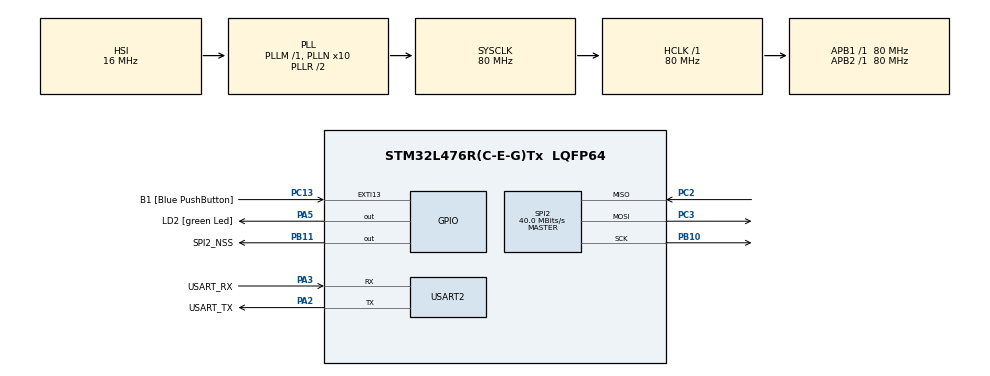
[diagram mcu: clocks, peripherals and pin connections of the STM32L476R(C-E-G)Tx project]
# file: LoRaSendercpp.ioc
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Mcu.Family=STM32L4
Mcu.Name=STM32L476R(C-E-G)Tx
Mcu.Package=LQFP64
NVIC.EXTI15_10_IRQn=true\:0\:0\:false\:false\:true\:true\:true
NVIC.PriorityGroup=NVIC_PRIORITYGROUP_4
PA13\ (JTMS-SWDIO).GPIO_Label=TMS
PA13\ (JTMS-SWDIO).Mode=Serial_Wire
PA13\ (JTMS-SWDIO).Signal=SYS_JTMS-SWDIO
PA14\ (JTCK-SWCLK).GPIO_Label=TCK
PA14\ (JTCK-SWCLK).Mode=Serial_Wire
PA14\ (JTCK-SWCLK).Signal=SYS_JTCK-SWCLK
PA2.GPIO_Label=USART_TX
PA2.GPIO_Mode=GPIO_MODE_AF_PP
PA2.GPIO_PuPd=GPIO_NOPULL
PA2.GPIO_Speed=GPIO_SPEED_FREQ_VERY_HIGH
PA2.Mode=Asynchronous
PA2.Signal=USART2_TX
PA3.GPIO_Label=USART_RX
PA3.GPIO_Mode=GPIO_MODE_AF_PP
PA3.GPIO_PuPd=GPIO_NOPULL
PA3.GPIO_Speed=GPIO_SPEED_FREQ_VERY_HIGH
PA3.Mode=Asynchronous
PA3.Signal=USART2_RX
PA5.GPIO_Label=LD2 [green Led]
PA5.GPIO_ModeDefaultOutputPP=GPIO_MODE_OUTPUT_PP
PA5.GPIO_PuPd=GPIO_NOPULL
PA5.GPIO_Speed=GPIO_SPEED_FREQ_LOW
PA5.Signal=GPIO_Output
PB10.Mode=Full_Duplex_Master
PB10.Signal=SPI2_SCK
PB11.GPIO_Label=SPI2_NSS
PB11.PinState=GPIO_PIN_SET
PB11.Signal=GPIO_Output
PB3\ (JTDO-TRACESWO).GPIO_Label=SWO
PB3\ (JTDO-TRACESWO).Signal=SYS_JTDO-SWO
PC13.GPIO_Label=B1 [Blue PushButton]
PC13.GPIO_ModeDefaultEXTI=GPIO_MODE_IT_FALLING
PC13.GPIO_PuPd=GPIO_NOPULL
PC13.Signal=GPXTI13
PC14-OSC32_IN\ (PC14).Mode=LSE-External-Oscillator
PC14-OSC32_IN\ (PC14).Signal=RCC_OSC32_IN
PC15-OSC32_OUT\ (PC15).Mode=LSE-External-Oscillator
PC15-OSC32_OUT\ (PC15).Signal=RCC_OSC32_OUT
PC2.Mode=Full_Duplex_Master
PC2.Signal=SPI2_MISO
PC3.Mode=Full_Duplex_Master
PC3.Signal=SPI2_MOSI
PH0-OSC_IN\ (PH0).Signal=RCC_OSC_IN
PH1-OSC_OUT\ (PH1).Signal=RCC_OSC_OUT
ProjectManager.HeapSize=0x200
ProjectManager.StackSize=0x400
ProjectManager.TargetToolchain=STM32CubeIDE
RCC.ADCFreq_Value=64000000
RCC.AHBFreq_Value=80000000
RCC.APB1Freq_Value=80000000
RCC.APB1TimFreq_Value=80000000
RCC.APB2Freq_Value=80000000
RCC.APB2TimFreq_Value=80000000
RCC.CortexFreq_Value=80000000
RCC.HCLKFreq_Value=80000000
RCC.HSE_VALUE=8000000
RCC.HSI_VALUE=16000000
RCC.MSI_VALUE=4000000
RCC.PLLN=10
RCC.PLLSourceVirtual=RCC_PLLSOURCE_HSI
RCC.PREFETCH_ENABLE=1
RCC.SYSCLKFreq_VALUE=80000000
RCC.SYSCLKSource=RCC_SYSCLKSOURCE_PLLCLK
RCC.USBFreq_Value=64000000
RCC.VCOOutputFreq_Value=160000000
SPI2.CalculateBaudRate=40.0 MBits/s
SPI2.DataSize=SPI_DATASIZE_8BIT
SPI2.Direction=SPI_DIRECTION_2LINES
SPI2.Mode=SPI_MODE_MASTER
SPI2.VirtualType=VM_MASTER
TIM1.Period=0xffff
TIM1.Prescaler=79
USART2.VirtualMode-Asynchronous=VM_ASYNC
VP_TIM1_VS_ClockSourceINT.Mode=Internal
board=NUCLEO-L476RG

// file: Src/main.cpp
/* USER CODE BEGIN Header */
/**
  ******************************************************************************
  * @file           : main.c
  * @brief          : Main program body
  ******************************************************************************
  * @attention
  *
  * <h2><center>&copy; Copyright (c) 2019 STMicroelectronics.
  * All rights reserved.</center></h2>
  *
  * This software component is licensed by ST under BSD 3-Clause license,
  * the "License"; You may not use this file except in compliance with the
  * License. You may obtain a copy of the License at:
  *                        opensource.org/licenses/BSD-3-Clause
  *
  ******************************************************************************
  */
/* USER CODE END Header */

#include "main.h"

/* USER CODE BEGIN Includes */
#include "lora.h"
/* USER CODE END Includes */

SPI_HandleTypeDef hspi2;

TIM_HandleTypeDef htim1;

UART_HandleTypeDef huart2;

LoRaClass lora;

int counter;

void SystemClock_Config(void);
static void MX_GPIO_Init(void);
static void MX_USART2_UART_Init(void);
static void MX_SPI2_Init(void);
static void MX_TIM1_Init(void);

int main(void)
{

  /* MCU Configuration--------------------------------------------------------*/

  /* Reset of all peripherals, Initializes the Flash interface and the Systick. */
  HAL_Init();

  /* Configure the system clock */
  SystemClock_Config();

  /* Initialize all configured peripherals */
  MX_GPIO_Init();
  MX_USART2_UART_Init();
  MX_SPI2_Init();
  MX_TIM1_Init();

  /* USER CODE BEGIN 2 */
  	  //LoRa.setPins(LORA_CS_PIN, LORA_RST_PIN, LORA_DIO0_PIN);
  	  LoRa.setPins(SPI2_NSS_GPIO_Port, SPI2_NSS_Pin, NULL, -1, EXTI15_10_IRQn);
  	  LoRa.setSPI(&hspi2);
  	  LoRa.setTIM(&htim1);

      if (!LoRa.begin(433.123E6)) {
        printf("Starting LoRa failed!\n");
        while (1);
      }
      LoRa.setTxPower(20, 1);
      LoRa.setSignalBandwidth(125E3);
      LoRa.setSpreadingFactor(11);
      LoRa.enableCrc();
      printf("LoRa started\n");
  /* USER CODE END 2 */

  /* Infinite loop */
  while (1)
  {
	  	printf("Sending packet: %d\n", counter);

	    // send packet
	    LoRa.beginPacket();
	    LoRa.print("hello ");
	    LoRa.print(counter);
	    LoRa.print("\n");
	    LoRa.print("LF working");
	    LoRa.endPacket();

	    counter++;

	    HAL_Delay(1500);
  }
}

void SystemClock_Config(void)
{
  RCC_OscInitTypeDef RCC_OscInitStruct = {0};
  RCC_ClkInitTypeDef RCC_ClkInitStruct = {0};
  RCC_PeriphCLKInitTypeDef PeriphClkInit = {0};

  /** Initializes the CPU, AHB and APB busses clocks
  */
  RCC_OscInitStruct.OscillatorType = RCC_OSCILLATORTYPE_HSI;
  RCC_OscInitStruct.HSIState = RCC_HSI_ON;
  RCC_OscInitStruct.HSICalibrationValue = RCC_HSICALIBRATION_DEFAULT;
  RCC_OscInitStruct.PLL.PLLState = RCC_PLL_ON;
  RCC_OscInitStruct.PLL.PLLSource = RCC_PLLSOURCE_HSI;
  RCC_OscInitStruct.PLL.PLLM = 1;
  RCC_OscInitStruct.PLL.PLLN = 10;
  RCC_OscInitStruct.PLL.PLLP = RCC_PLLP_DIV7;
  RCC_OscInitStruct.PLL.PLLQ = RCC_PLLQ_DIV2;
  RCC_OscInitStruct.PLL.PLLR = RCC_PLLR_DIV2;
  if (HAL_RCC_OscConfig(&RCC_OscInitStruct) != HAL_OK)
  {
    Error_Handler();
  }
  /** Initializes the CPU, AHB and APB busses clocks
  */
  RCC_ClkInitStruct.ClockType = RCC_CLOCKTYPE_HCLK|RCC_CLOCKTYPE_SYSCLK
                              |RCC_CLOCKTYPE_PCLK1|RCC_CLOCKTYPE_PCLK2;
  RCC_ClkInitStruct.SYSCLKSource = RCC_SYSCLKSOURCE_PLLCLK;
  RCC_ClkInitStruct.AHBCLKDivider = RCC_SYSCLK_DIV1;
  RCC_ClkInitStruct.APB1CLKDivider = RCC_HCLK_DIV1;
  RCC_ClkInitStruct.APB2CLKDivider = RCC_HCLK_DIV1;

  if (HAL_RCC_ClockConfig(&RCC_ClkInitStruct, FLASH_LATENCY_4) != HAL_OK)
  {
    Error_Handler();
  }
  PeriphClkInit.PeriphClockSelection = RCC_PERIPHCLK_USART2;
  PeriphClkInit.Usart2ClockSelection = RCC_USART2CLKSOURCE_PCLK1;
  if (HAL_RCCEx_PeriphCLKConfig(&PeriphClkInit) != HAL_OK)
  {
    Error_Handler();
  }
  /** Configure the main internal regulator output voltage
  */
  if (HAL_PWREx_ControlVoltageScaling(PWR_REGULATOR_VOLTAGE_SCALE1) != HAL_OK)
  {
    Error_Handler();
  }
}

static void MX_SPI2_Init(void)
{

  /* SPI2 parameter configuration*/
  hspi2.Instance = SPI2;
  hspi2.Init.Mode = SPI_MODE_MASTER;
  hspi2.Init.Direction = SPI_DIRECTION_2LINES;
  hspi2.Init.DataSize = SPI_DATASIZE_8BIT;
  hspi2.Init.CLKPolarity = SPI_POLARITY_LOW;
  hspi2.Init.CLKPhase = SPI_PHASE_1EDGE;
  hspi2.Init.NSS = SPI_NSS_SOFT;
  hspi2.Init.BaudRatePrescaler = SPI_BAUDRATEPRESCALER_2;
  hspi2.Init.FirstBit = SPI_FIRSTBIT_MSB;
  hspi2.Init.TIMode = SPI_TIMODE_DISABLE;
  hspi2.Init.CRCCalculation = SPI_CRCCALCULATION_DISABLE;
  hspi2.Init.CRCPolynomial = 7;
  hspi2.Init.CRCLength = SPI_CRC_LENGTH_DATASIZE;
  hspi2.Init.NSSPMode = SPI_NSS_PULSE_ENABLE;
  if (HAL_SPI_Init(&hspi2) != HAL_OK)
  {
    Error_Handler();
  }

}

static void MX_TIM1_Init(void)
{

  TIM_ClockConfigTypeDef sClockSourceConfig = {0};
  TIM_MasterConfigTypeDef sMasterConfig = {0};

  htim1.Instance = TIM1;
  htim1.Init.Prescaler = 79;
  htim1.Init.CounterMode = TIM_COUNTERMODE_UP;
  htim1.Init.Period = 0xffff;
  htim1.Init.ClockDivision = TIM_CLOCKDIVISION_DIV1;
  htim1.Init.RepetitionCounter = 0;
  htim1.Init.AutoReloadPreload = TIM_AUTORELOAD_PRELOAD_DISABLE;
  if (HAL_TIM_Base_Init(&htim1) != HAL_OK)
  {
    Error_Handler();
  }
  sClockSourceConfig.ClockSource = TIM_CLOCKSOURCE_INTERNAL;
  if (HAL_TIM_ConfigClockSource(&htim1, &sClockSourceConfig) != HAL_OK)
  {
    Error_Handler();
  }
  sMasterConfig.MasterOutputTrigger = TIM_TRGO_RESET;
  sMasterConfig.MasterOutputTrigger2 = TIM_TRGO2_RESET;
  sMasterConfig.MasterSlaveMode = TIM_MASTERSLAVEMODE_DISABLE;
  if (HAL_TIMEx_MasterConfigSynchronization(&htim1, &sMasterConfig) != HAL_OK)
  {
    Error_Handler();
  }

}

static void MX_USART2_UART_Init(void)
{

  huart2.Instance = USART2;
  huart2.Init.BaudRate = 115200;
  huart2.Init.WordLength = UART_WORDLENGTH_8B;
  huart2.Init.StopBits = UART_STOPBITS_1;
  huart2.Init.Parity = UART_PARITY_NONE;
  huart2.Init.Mode = UART_MODE_TX_RX;
  huart2.Init.HwFlowCtl = UART_HWCONTROL_NONE;
  huart2.Init.OverSampling = UART_OVERSAMPLING_16;
  huart2.Init.OneBitSampling = UART_ONE_BIT_SAMPLE_DISABLE;
  huart2.AdvancedInit.AdvFeatureInit = UART_ADVFEATURE_NO_INIT;
  if (HAL_UART_Init(&huart2) != HAL_OK)
  {
    Error_Handler();
  }

}

static void MX_GPIO_Init(void)
{
  GPIO_InitTypeDef GPIO_InitStruct = {0};

  /* GPIO Ports Clock Enable */
  __HAL_RCC_GPIOC_CLK_ENABLE();
  __HAL_RCC_GPIOH_CLK_ENABLE();
  __HAL_RCC_GPIOA_CLK_ENABLE();
  __HAL_RCC_GPIOB_CLK_ENABLE();

  /*Configure GPIO pin Output Level */
  HAL_GPIO_WritePin(LD2_GPIO_Port, LD2_Pin, GPIO_PIN_RESET);

  /*Configure GPIO pin Output Level */
  HAL_GPIO_WritePin(SPI2_NSS_GPIO_Port, SPI2_NSS_Pin, GPIO_PIN_SET);

  /*Configure GPIO pin : B1_Pin */
  GPIO_InitStruct.Pin = B1_Pin;
  GPIO_InitStruct.Mode = GPIO_MODE_IT_FALLING;
  GPIO_InitStruct.Pull = GPIO_NOPULL;
  HAL_GPIO_Init(B1_GPIO_Port, &GPIO_InitStruct);

  /*Configure GPIO pin : LD2_Pin */
  GPIO_InitStruct.Pin = LD2_Pin;
  GPIO_InitStruct.Mode = GPIO_MODE_OUTPUT_PP;
  GPIO_InitStruct.Pull = GPIO_NOPULL;
  GPIO_InitStruct.Speed = GPIO_SPEED_FREQ_LOW;
  HAL_GPIO_Init(LD2_GPIO_Port, &GPIO_InitStruct);

  /*Configure GPIO pin : SPI2_NSS_Pin */
  GPIO_InitStruct.Pin = SPI2_NSS_Pin;
  GPIO_InitStruct.Mode = GPIO_MODE_OUTPUT_PP;
  GPIO_InitStruct.Pull = GPIO_NOPULL;
  GPIO_InitStruct.Speed = GPIO_SPEED_FREQ_LOW;
  HAL_GPIO_Init(SPI2_NSS_GPIO_Port, &GPIO_InitStruct);

  /* EXTI interrupt init*/
  HAL_NVIC_SetPriority(EXTI15_10_IRQn, 0, 0);
  HAL_NVIC_EnableIRQ(EXTI15_10_IRQn);

}

/* USER CODE BEGIN 4 */
void HAL_GPIO_EXTI_Callback (uint16_t GPIO_Pin){
	if(GPIO_Pin == B1_Pin){
		lora.onDio0Rise();
	}
}
/* USER CODE END 4 */

void Error_Handler(void)
{
}

/************************ (C) COPYRIGHT STMicroelectronics *****END OF FILE****/
